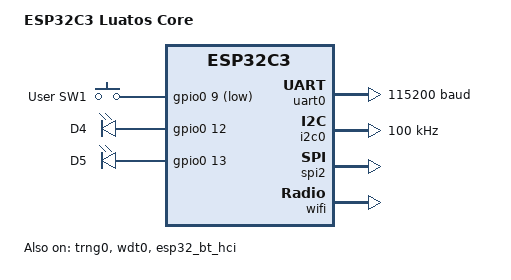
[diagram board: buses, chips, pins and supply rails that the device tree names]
/*
 * Copyright (c) 2023 YuLong Yao<feilongphone@gmail.com>
 *
 * SPDX-License-Identifier: Apache-2.0
 */

#include <espressif/esp32c3/esp32c3_mini_n4.dtsi>
#include "esp32c3_luatos_core-pinctrl.dtsi"
#include <zephyr/dt-bindings/input/input-event-codes.h>
#include <espressif/partitions_0x0_default.dtsi>

/ {
	model = "ESP32C3 Luatos Core";
	compatible = "espressif,esp32c3";

	aliases {
		sw0 = &user_button1;
		i2c-0 = &i2c0;
		watchdog0 = &wdt0;
		led0 = &led_d4;
		led1 = &led_d5;
	};

	gpio_keys {
		compatible = "gpio-keys";

		user_button1: button_1 {
			label = "User SW1";
			gpios = <&gpio0 9 (GPIO_PULL_UP | GPIO_ACTIVE_LOW)>;
			zephyr,code = <INPUT_KEY_0>;
		};
	};

	leds {
		compatible = "gpio-leds";

		led_d4: led_1 {
			label = "D4";
			gpios = <&gpio0 12 GPIO_ACTIVE_HIGH>;
		};

		led_d5: led_2 {
			label = "D5";
			gpios = <&gpio0 13 GPIO_ACTIVE_HIGH>;
		};
	};
};

&uart0 {
	status = "okay";
	current-speed = <115200>;
	pinctrl-0 = <&uart0_default>;
	pinctrl-names = "default";
};

&i2c0 {
	status = "okay";
	clock-frequency = <I2C_BITRATE_STANDARD>;
	pinctrl-0 = <&i2c0_default>;
	pinctrl-names = "default";
};

&trng0 {
	status = "okay";
};

&spi2 {
	#address-cells = <1>;
	#size-cells = <0>;
	status = "okay";
	pinctrl-0 = <&spim2_default>;
	pinctrl-names = "default";
};

&gpio0 {
	status = "okay";
};

&wdt0 {
	status = "okay";
};

&timer0 {
	status = "disabled";
};

&timer1 {
	status = "disabled";
};

&twai {
	/* requires external CAN transceiver or jumper on RX and TX pins for loopback testing */
	status = "disabled";
	pinctrl-0 = <&twai_default>;
	pinctrl-names = "default";
};

&esp32_bt_hci {
	status = "okay";
};

&wifi {
	status = "okay";
};
